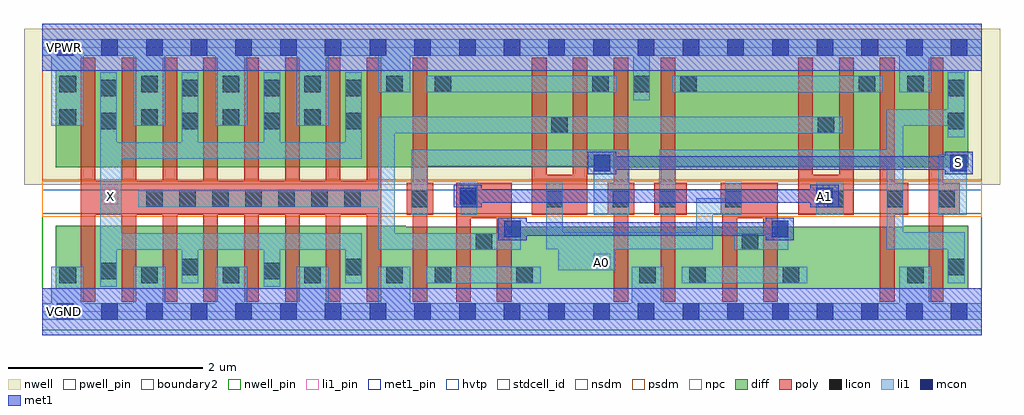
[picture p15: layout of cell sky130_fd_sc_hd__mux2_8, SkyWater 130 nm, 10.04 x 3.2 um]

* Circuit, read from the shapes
.subckt sky130_fd_sc_hd__mux2_8 A0 A1 S VGND VNB VPB VPWR X
XM1 X n1 VGND VNB sky130_fd_pr__nfet_01v8 w=0.65 l=0.15 m=8
XM2 n2 S VGND VNB sky130_fd_pr__nfet_01v8 w=0.64 l=0.15 m=2
XM3 n1 A1 n2 VNB sky130_fd_pr__nfet_01v8 w=0.64 l=0.15 m=2
XM4 n3 n4 VGND VNB sky130_fd_pr__nfet_01v8 w=0.64 l=0.15 m=2
XM5 n1 A0 n3 VNB sky130_fd_pr__nfet_01v8 w=0.64 l=0.15 m=2
XM6 n4 S VGND VNB sky130_fd_pr__nfet_01v8 w=0.65 l=0.15
XM7 X n1 VPWR VPB sky130_fd_pr__pfet_01v8_hvt w=1 l=0.15 m=8
XM8 n5 S VPWR VPB sky130_fd_pr__pfet_01v8_hvt w=1 l=0.15 m=2
XM9 n1 A0 n5 VPB sky130_fd_pr__pfet_01v8_hvt w=1 l=0.15 m=2
XM10 n6 n4 VPWR VPB sky130_fd_pr__pfet_01v8_hvt w=1 l=0.15 m=2
XM11 n1 A1 n6 VPB sky130_fd_pr__pfet_01v8_hvt w=1 l=0.15 m=2
XM12 n4 S VPWR VPB sky130_fd_pr__pfet_01v8_hvt w=1 l=0.15
.ends

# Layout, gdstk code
import gdstk
lib = gdstk.Library(unit=1e-6, precision=1e-09)
def R(c, l, rs):  # rectangles x0, y0, x1, y1
    for r in rs: c.add(gdstk.rectangle(r[:2], r[2:], *l))
def A(c, l, x, y, w, h, nx, ny, dx, dy):  # array of equal rectangles
    R(c, l, [(x+i*dx, y+j*dy, x+i*dx+w, y+j*dy+h) for i in range(nx) for j in range(ny)])
def P(c, l, *ps):  # polygons
    for p in ps: c.add(gdstk.Polygon(p, *l))
nwell_pin = (64, 16)
nwell = (64, 20)
diff = (65, 20)
poly = (66, 20)
licon = (66, 44)
li1_pin = (67, 16)
li1 = (67, 20)
mcon = (67, 44)
met1_pin = (68, 16)
met1 = (68, 20)
hvtp = (78, 44)
stdcell_id = (81, 4)
nsdm = (93, 44)
psdm = (94, 20)
npc = (95, 20)
pwell_pin = (122, 16)
boundary2 = (236, 0)

sky130_fd_sc_hd__mux2_8 = lib.new_cell('sky130_fd_sc_hd__mux2_8')
R(sky130_fd_sc_hd__mux2_8, nwell_pin, [(0.15,2.635,0.32,2.805)])
R(sky130_fd_sc_hd__mux2_8, nwell, [(-0.19,1.305,9.85,2.91)])
R(sky130_fd_sc_hd__mux2_8, diff, [(0.135,1.485,9.525,2.485)])
P(sky130_fd_sc_hd__mux2_8, diff, [(9.525,0.885),(8.865,0.885),(8.865,0.875),(3.735,0.875),(3.735,0.885),(0.135,0.885),(0.135,0.235),(9.525,0.235)])
P(sky130_fd_sc_hd__mux2_8, poly, [(3.485,2.615),(3.335,2.615),(3.335,1.345),(3.065,1.345),(3.065,2.615),(2.915,2.615),(2.915,1.345),(2.645,1.345),(2.645,2.615),(2.495,2.615),(2.495,1.345),(2.225,1.345),(2.225,2.615),(2.075,2.615),(2.075,1.345),(1.805,1.345),(1.805,2.615),(1.655,2.615),(1.655,1.345),(1.385,1.345),(1.385,2.615),(1.235,2.615),(1.235,1.345),(0.965,1.345),(0.965,2.615),(0.815,2.615),(0.815,1.345),(0.545,1.345),(0.545,2.615),(0.395,2.615),(0.395,0.105),(0.545,0.105),(0.545,0.995),(0.815,0.995),(0.815,0.105),(0.965,0.105),(0.965,0.995),(1.235,0.995),(1.235,0.105),(1.385,0.105),(1.385,0.995),(1.655,0.995),(1.655,0.105),(1.805,0.105),(1.805,0.995),(2.075,0.995),(2.075,0.105),(2.225,0.105),(2.225,0.995),(2.495,0.995),(2.495,0.105),(2.645,0.105),(2.645,0.995),(2.915,0.995),(2.915,0.105),(3.065,0.105),(3.065,0.995),(3.335,0.995),(3.335,0.105),(3.485,0.105)],
  [(4.02,1.325),(3.96,1.325),(3.96,2.615),(3.81,2.615),(3.81,1.325),(3.745,1.325),(3.745,0.995),(3.81,0.995),(3.81,0.105),(3.96,0.105),(3.96,0.995),(4.02,0.995)],
  [(4.825,1.325),(4.255,1.325),(4.255,0.105),(4.405,0.105),(4.405,0.96),(4.675,0.96),(4.675,0.105),(4.825,0.105)],
  [(5.605,2.615),(5.455,2.615),(5.455,1.41),(5.185,1.41),(5.185,2.615),(5.035,2.615),(5.035,0.995),(5.605,0.995)],
  [(6.085,1.325),(6.025,1.325),(6.025,2.615),(5.875,2.615),(5.875,1.325),(5.815,1.325),(5.815,0.995),(5.875,0.995),(5.875,0.105),(6.025,0.105),(6.025,0.995),(6.085,0.995)],
  [(6.63,1.325),(6.51,1.325),(6.51,2.615),(6.36,2.615),(6.36,1.325),(6.295,1.325),(6.295,0.995),(6.36,0.995),(6.36,0.105),(6.51,0.105),(6.51,0.995),(6.63,0.995)],
  [(7.565,1.325),(6.975,1.325),(6.975,0.995),(6.995,0.995),(6.995,0.105),(7.145,0.105),(7.145,0.96),(7.415,0.96),(7.415,0.105),(7.565,0.105)],
  [(8.345,2.615),(8.195,2.615),(8.195,1.41),(7.925,1.41),(7.925,2.615),(7.775,2.615),(7.775,0.995),(8.345,0.995)],
  [(8.905,1.325),(8.765,1.325),(8.765,2.615),(8.615,2.615),(8.615,0.105),(8.765,0.105),(8.765,0.995),(8.905,0.995)],
  [(9.435,1.325),(9.265,1.325),(9.265,2.615),(9.115,2.615),(9.115,0.105),(9.265,0.105),(9.265,0.995),(9.435,0.995)])
A(sky130_fd_sc_hd__mux2_8, licon, 0.175, 0.295, 0.17, 0.17, 5, 2, 0.84, 1.96)
A(sky130_fd_sc_hd__mux2_8, licon, 1.065, 1.075, 0.17, 0.17, 7, 1, 0.34, 0)
A(sky130_fd_sc_hd__mux2_8, licon, 0.595, 1.875, 0.17, 0.17, 4, 2, 0.84, 0.34)
A(sky130_fd_sc_hd__mux2_8, licon, 0.175, 1.915, 0.17, 0.17, 4, 1, 0.84, 0)
R(sky130_fd_sc_hd__mux2_8, licon, [(4.035,0.295,4.205,0.465), (4.875,0.295,5.045,0.465), (6.14,0.295,6.31,0.465), (6.655,0.295,6.825,0.465), (7.615,0.295,7.785,0.465), (8.895,0.295,9.065,0.465), (0.595,0.335,0.765,0.505), (2.275,0.335,2.445,0.505), (1.435,0.375,1.605,0.545), (3.115,0.375,3.285,0.545), (9.315,0.375,9.485,0.545), (4.455,0.635,4.625,0.805), (7.195,0.635,7.365,0.805), (3.795,1.075,3.965,1.245), (4.305,1.075,4.475,1.245), (5.18,1.075,5.35,1.245), (5.865,1.075,6.035,1.245), (6.345,1.075,6.515,1.245), (7.025,1.075,7.195,1.245), (8.075,1.075,8.245,1.245), (8.685,1.075,8.855,1.245), (9.215,1.075,9.385,1.245), (5.235,1.835,5.405,2.005), (7.975,1.835,8.145,2.005), (9.315,1.875,9.485,2.045), (9.315,2.215,9.485,2.385), (4.035,2.255,4.205,2.425), (5.655,2.255,5.825,2.425), (6.075,2.255,6.245,2.425), (6.56,2.255,6.73,2.425), (8.395,2.255,8.565,2.425), (8.895,2.255,9.065,2.425)])
R(sky130_fd_sc_hd__mux2_8, li1_pin, [(5.67,0.425,5.84,0.595), (0.61,1.105,0.78,1.275)])
R(sky130_fd_sc_hd__mux2_8, li1, [(3.955,0.295,5.125,0.465), (6.575,0.295,7.865,0.465), (7.96,0.995,8.245,1.325), (9.215,0.995,9.51,1.615), (3.955,2.255,5.905,2.425), (6.48,2.255,8.645,2.425)])
P(sky130_fd_sc_hd__mux2_8, li1, [(3.285,0.805),(0.815,0.805),(0.815,1.575),(3.285,1.575),(3.285,2.465),(3.115,2.465),(3.115,1.745),(2.445,1.745),(2.445,2.465),(2.275,2.465),(2.275,1.745),(1.605,1.745),(1.605,2.465),(1.435,2.465),(1.435,1.745),(0.765,1.745),(0.765,2.465),(0.595,2.465),(0.595,0.255),(0.765,0.255),(0.765,0.635),(1.435,0.635),(1.435,0.295),(1.605,0.295),(1.605,0.635),(2.275,0.635),(2.275,0.255),(2.445,0.255),(2.445,0.635),(3.115,0.635),(3.115,0.295),(3.285,0.295)],
  [(4.475,1.325),(4.305,1.325),(4.305,1.275),(4.29,1.275),(4.29,1.105),(4.305,1.105),(4.305,0.995),(4.475,0.995)],
  [(6.035,1.665),(3.795,1.665),(3.795,0.995),(3.965,0.995),(3.965,1.495),(5.67,1.495),(5.67,0.995),(6.035,0.995)],
  [(7.195,1.325),(7.025,1.325),(7.025,1.165),(6.725,1.165),(6.725,0.815),(5.35,0.815),(5.35,1.325),(5.18,1.325),(5.18,0.645),(5.305,0.645),(5.305,0.425),(5.89,0.425),(5.89,0.645),(6.895,0.645),(6.895,0.995),(7.195,0.995)],
  [(7.67,0.935),(7.5,0.935),(7.5,0.805),(7.115,0.805),(7.115,0.635),(7.67,0.635)],
  [(8.225,2.005),(3.455,2.005),(3.455,1.245),(0.985,1.245),(0.985,1.075),(3.455,1.075),(3.455,0.635),(4.92,0.635),(4.92,0.935),(4.75,0.935),(4.75,0.805),(3.625,0.805),(3.625,1.835),(8.225,1.835)],
  [(9.485,0.815),(8.855,0.815),(8.855,1.915),(9.315,1.915),(9.315,1.795),(9.485,1.795),(9.485,2.465),(9.315,2.465),(9.315,2.085),(8.685,2.085),(8.685,1.665),(6.345,1.665),(6.345,0.995),(6.515,0.995),(6.515,1.495),(8.685,1.495),(8.685,0.645),(9.315,0.645),(9.315,0.295),(9.485,0.295)],
  [(9.66,2.805),(0,2.805),(0,2.635),(0.09,2.635),(0.09,1.915),(0.425,1.915),(0.425,2.635),(0.935,2.635),(0.935,1.915),(1.265,1.915),(1.265,2.635),(1.775,2.635),(1.775,1.915),(2.105,1.915),(2.105,2.635),(2.615,2.635),(2.615,1.915),(2.945,1.915),(2.945,2.635),(3.455,2.635),(3.455,2.255),(3.785,2.255),(3.785,2.635),(6.075,2.635),(6.075,2.175),(6.245,2.175),(6.245,2.635),(8.815,2.635),(8.815,2.255),(9.145,2.255),(9.145,2.635),(9.66,2.635)],
  [(9.66,0.085),(9.145,0.085),(9.145,0.465),(8.815,0.465),(8.815,0.085),(6.39,0.085),(6.39,0.465),(6.06,0.465),(6.06,0.085),(3.785,0.085),(3.785,0.465),(3.455,0.465),(3.455,0.085),(2.945,0.085),(2.945,0.465),(2.615,0.465),(2.615,0.085),(2.105,0.085),(2.105,0.465),(1.775,0.465),(1.775,0.085),(1.265,0.085),(1.265,0.465),(0.935,0.465),(0.935,0.085),(0.425,0.085),(0.425,0.465),(0.09,0.465),(0.09,0.085),(0,0.085),(0,-0.085),(9.66,-0.085)])
A(sky130_fd_sc_hd__mux2_8, mcon, 0.145, -0.085, 0.17, 0.17, 21, 2, 0.46, 2.72)
R(sky130_fd_sc_hd__mux2_8, mcon, [(4.75,0.765,4.92,0.935), (7.5,0.765,7.67,0.935), (4.29,1.105,4.46,1.275), (7.96,1.105,8.13,1.275), (5.67,1.445,5.84,1.615), (9.34,1.445,9.51,1.615)])
R(sky130_fd_sc_hd__mux2_8, met1_pin, [(0.15,-0.085,0.32,0.085), (7.96,1.105,8.13,1.275), (9.34,1.445,9.51,1.615), (0.15,2.635,0.32,2.805)])
P(sky130_fd_sc_hd__mux2_8, met1, [(7.73,0.965),(7.44,0.965),(7.44,0.92),(4.98,0.92),(4.98,0.965),(4.69,0.965),(4.69,0.735),(4.98,0.735),(4.98,0.78),(7.44,0.78),(7.44,0.735),(7.73,0.735)],
  [(8.19,1.305),(7.9,1.305),(7.9,1.26),(4.52,1.26),(4.52,1.305),(4.23,1.305),(4.23,1.075),(4.52,1.075),(4.52,1.12),(7.9,1.12),(7.9,1.075),(8.19,1.075)],
  [(9.57,1.645),(9.28,1.645),(9.28,1.6),(5.9,1.6),(5.9,1.645),(5.61,1.645),(5.61,1.415),(5.9,1.415),(5.9,1.46),(9.28,1.46),(9.28,1.415),(9.57,1.415)])
R(sky130_fd_sc_hd__mux2_8, hvtp, [(0,1.25,9.66,2.72)])
R(sky130_fd_sc_hd__mux2_8, stdcell_id, [(0,0,9.66,2.72)])
R(sky130_fd_sc_hd__mux2_8, nsdm, [(0,-0.19,9.66,1.015)])
R(sky130_fd_sc_hd__mux2_8, psdm, [(0,1.355,9.66,2.91)])
R(sky130_fd_sc_hd__mux2_8, npc, [(0,0.975,9.66,1.345)])
R(sky130_fd_sc_hd__mux2_8, pwell_pin, [(0.15,-0.085,0.32,0.085)])
R(sky130_fd_sc_hd__mux2_8, boundary2, [(0,0,9.66,2.72)])
sky130_fd_sc_hd__mux2_8.add(gdstk.FlexPath([(0,0),(9.66,0)], 0.48, ends="flush", simple_path=True, layer=68, datatype=20))  # met1
sky130_fd_sc_hd__mux2_8.add(gdstk.FlexPath([(0,2.72),(9.66,2.72)], 0.48, ends="flush", simple_path=True, layer=68, datatype=20))  # met1
sky130_fd_sc_hd__mux2_8.add(gdstk.Label('S', (9.425,1.53), layer=68, texttype=5))
sky130_fd_sc_hd__mux2_8.add(gdstk.Label('A1', (8.045,1.19), layer=68, texttype=5))
sky130_fd_sc_hd__mux2_8.add(gdstk.Label('VPWR', (0.23,2.72), layer=68, texttype=5))
sky130_fd_sc_hd__mux2_8.add(gdstk.Label('VGND', (0.23,0), layer=68, texttype=5))
sky130_fd_sc_hd__mux2_8.add(gdstk.Label('VPB', (0.23,2.72), layer=64, texttype=5))
sky130_fd_sc_hd__mux2_8.add(gdstk.Label('VNB', (0.23,0), layer=64, texttype=59))
sky130_fd_sc_hd__mux2_8.add(gdstk.Label('A0', (5.755,0.51), layer=67, texttype=5))
sky130_fd_sc_hd__mux2_8.add(gdstk.Label('X', (0.695,1.19), layer=67, texttype=5))
sky130_fd_sc_hd__mux2_8.add(gdstk.Label('mux2_8', (0,0), layer=83, texttype=44))

lib.write_gds('sky130_fd_sc_hd__mux2_8.gds')
